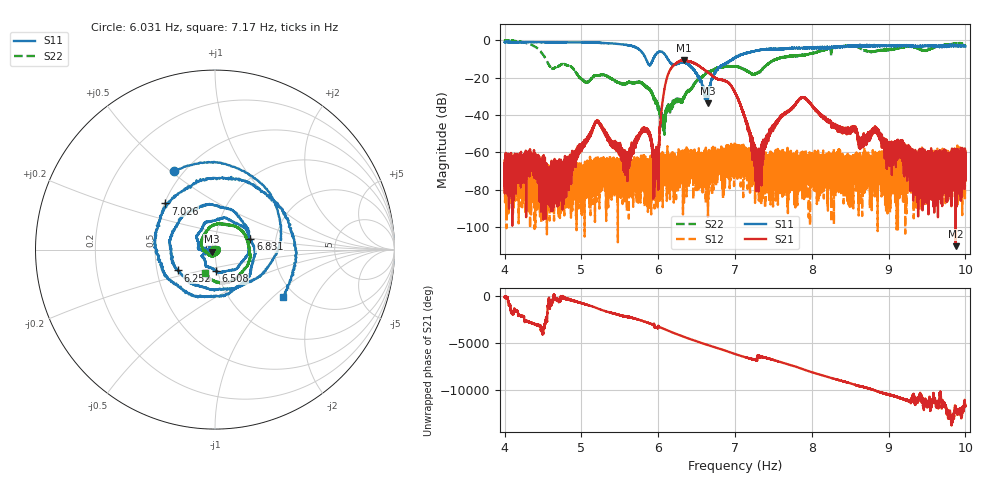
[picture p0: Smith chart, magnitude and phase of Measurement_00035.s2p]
!Created with skrf (http://scikit-rf.org).
# Hz S RI R 50.0
!freq ReS11 ImS11 ReS21 ImS21 ReS12 ImS12 ReS22 ImS22
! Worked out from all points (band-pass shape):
!   14001 points, 4 Hz to 10 Hz, reference 50 ohm
!   highest |S21| = -10.59 dB at 6.338 Hz (marker M1); lowest = -110.1 dB at 9.874 Hz (marker M2)
!   |S21| within 3 dB of the highest: 6.197 Hz to 6.525 Hz (328.2 mHz wide, 5.16 % of centre); 6.525408 Hz to 6.52577 Hz (362.5 uHz wide, 0.00555 % of centre)
!   lowest |S11| = -33.8 dB at 6.643 Hz (marker M3), VSWR 1.04, Z = 48.3 - j1.04 ohm
!   |S11| at or under -10 dB: 5.84 Hz to 5.935 Hz (95.22 mHz wide, 1.62 % of centre); 6.123 Hz to 6.977 Hz (854.4 mHz wide, 13 % of centre); 6.977295 Hz to 6.979205 Hz (1.909 mHz wide, 0.0274 % of centre) (the widest 3 of 6)
!   |S22| runs from -50.6 to -0.2 dB; largest |S21 - S12| = 0.3
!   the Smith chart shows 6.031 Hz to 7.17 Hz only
!   S11 on the Smith chart (normalised r, x): 6.031 Hz: 0.44, +0.51; 6.252 Hz: 0.64, -0.16; 6.508 Hz: 0.98, -0.24; 6.831 Hz: 1.48, +0.18; 7.026 Hz: 0.50, +0.30; 7.17 Hz: 1.73, -1.16
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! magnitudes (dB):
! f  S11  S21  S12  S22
! 4 Hz  -1.1  -64.4  -70.9  -0.3
! 4.572 Hz  -1.0  -78.3  -68.9  -12.9
! 5 Hz  -1.2  -57.1  -83.8  -20.7
! 5.206 Hz  -1.4  -42.8  -63.1  -18.9
! 5.575 Hz  -2.5  -66.2  -70.9  -23.3
! 5.81 Hz  -7.6  -48.0  -74.3  -23.6
! 6 Hz  -6.5  -71.4  -72.3  -35.4
! 6.031 Hz  -6.1  -42.5  -76.2  -41.2
! 6.113 Hz  -9.2  -20.3  -66.5  -36.5
! 6.252 Hz  -12.5  -11.8  -74.6  -32.4
! 6.338 Hz  -11.9  -10.6  -75.2  -31.5
! 6.508 Hz  -18.4  -13.1  -61.2  -21.3
! 6.643 Hz  -33.8  -17.1  -78.8  -17.1
! 6.831 Hz  -13.7  -21.3  -66.1  -14.6
! 7 Hz  -9.4  -28.1  -60.9  -14.0
! 7.026 Hz  -8.4  -30.1  -60.8  -14.2
! 7.17 Hz  -6.7  -45.7  -67.9  -16.8
! 7.296 Hz  -5.4  -69.0  -71.1  -17.5
! 8 Hz  -4.3  -34.9  -68.0  -6.9
! 9 Hz  -3.1  -61.5  -67.0  -5.1
! 9.874 Hz  -3.1  -110.1  -71.8  -1.8
! 10 Hz  -3.3  -62.9  -74.7  -3.1
